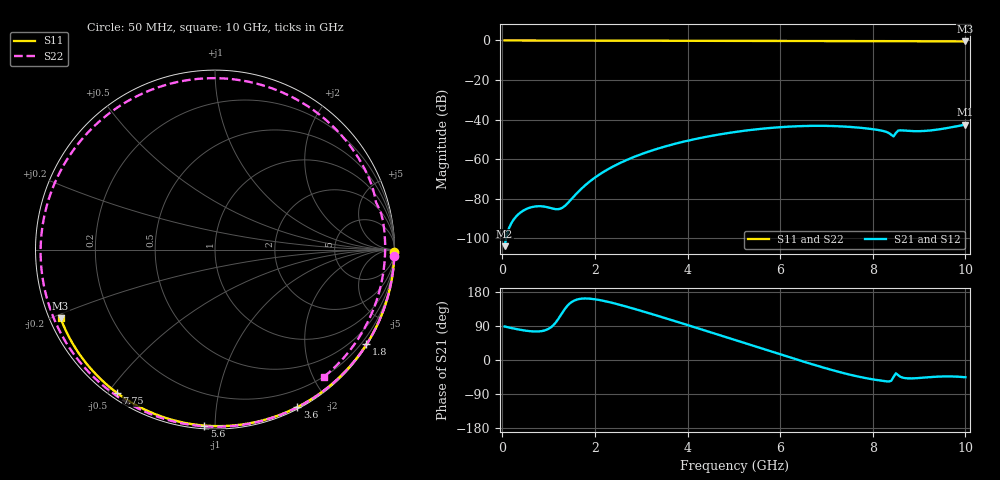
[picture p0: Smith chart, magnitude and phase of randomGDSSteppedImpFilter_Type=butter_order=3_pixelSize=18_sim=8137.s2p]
! freq	dB(S11)	phase(S11)	dB(S12)	phase(S12)
!  dB(S21)	phase(S21)	dB(S22)	phase(S22)
!S-par simulation data
#  GHz  S  DB  R 50
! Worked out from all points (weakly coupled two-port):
!   200 points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, 50 MHz to 10 GHz, reference 50 ohm
!   highest |S21| = -42.53 dB at 10 GHz (marker M1); lowest = -103.9 dB at 50 MHz (marker M2)
!   lowest |S11| = -0.5 dB at 10 GHz (marker M3), VSWR 33.10, Z = 1.58 - j10.6 ohm
!   |S11| at or under -10 dB: nowhere
!   |S22| runs from -0.6 to 0.0 dB; largest |S21 - S12| = 0
!   S11 on the Smith chart (normalised r, x): 50 MHz: open; 1.8 GHz: 0.03, -3.48; 3.6 GHz: 0.02, -1.65; 5.6 GHz: 0.02, -0.94; 7.75 GHz: 0.02, -0.53; 10 GHz: 0.03, -0.21
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0.05  -0.00 -0.9  -103.93 88.4  -103.93 88.4  -0.00 -2.0
0.75  -0.02 -13.5  -83.78 75.2  -83.78 75.2  -0.03 -29.6
1.5  -0.03 -26.8  -79.98 153.1  -79.98 153.1  -0.07 -58.5
1.75  -0.04 -31.2  -73.99 162.2  -73.99 162.2  -0.09 -68.0
1.8  -0.04 -32.0  -72.95 162.4  -72.95 162.4  -0.09 -69.8
2.15  -0.05 -38.1  -66.92 157.0  -66.92 157.0  -0.11 -82.8
2.6  -0.06 -45.8  -61.28 143.6  -61.28 143.6  -0.13 -99.2
3.4  -0.08 -59.1  -54.35 114.9  -54.35 114.9  -0.16 -128.0
3.6  -0.08 -62.4  -53.01 107.4  -53.01 107.4  -0.17 -135.2
4.35  -0.11 -74.3  -48.93 78.9  -48.93 78.9  -0.22 -162.5
5.05  -0.13 -85.2  -46.17 51.8  -46.17 51.8  -0.27 170.9
5.6  -0.15 -93.5  -44.61 30.4  -44.61 30.4  -0.31 148.8
6.2  -0.19 -102.3  -43.52 7.2  -43.52 7.2  -0.35 123.0
6.7  -0.21 -109.6  -43.14 -11.6  -43.14 -11.6  -0.39 100.3
7.2  -0.25 -116.7  -43.29 -29.1  -43.29 -29.1  -0.41 76.5
7.75  -0.29 -124.5  -44.16 -45.4  -44.16 -45.4  -0.44 49.7
8.35  -0.34 -132.9  -46.79 -56.6  -46.79 -56.6  -0.52 20.8
8.45  -0.35 -134.3  -48.45 -44.3  -48.45 -44.3  -0.59 16.5
8.55  -0.36 -135.6  -45.54 -40.2  -45.54 -40.2  -0.47 12.3
9.1  -0.42 -143.3  -45.73 -46.5  -45.73 -46.5  -0.49 -13.0
9.55  -0.47 -149.7  -44.47 -43.3  -44.47 -43.3  -0.54 -31.9
10  -0.53 -156.1  -42.53 -45.5  -42.53 -45.5  -0.60 -49.5
